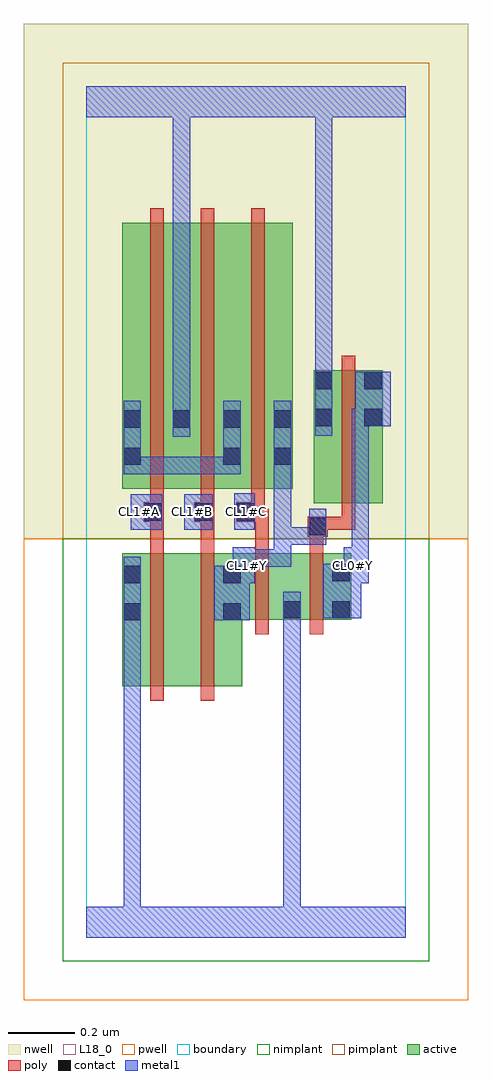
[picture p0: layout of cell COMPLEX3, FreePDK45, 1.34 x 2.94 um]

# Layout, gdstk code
import gdstk
lib = gdstk.Library(unit=1e-6, precision=1e-09)
def R(c, l, rs):  # rectangles x0, y0, x1, y1
    for r in rs: c.add(gdstk.rectangle(r[:2], r[2:], *l))
def A(c, l, x, y, w, h, nx, ny, dx, dy):  # array of equal rectangles
    R(c, l, [(x+i*dx, y+j*dy, x+i*dx+w, y+j*dy+h) for i in range(nx) for j in range(ny)])
active = (1, 0)
pwell = (2, 0)
nwell = (3, 0)
nimplant = (4, 0)
pimplant = (5, 0)
poly = (9, 0)
contact = (10, 0)
metal1 = (11, 0)
L18_0 = (18, 0)
boundary = (235, 0)

complex3 = lib.new_cell('COMPLEX3')
R(complex3, active, [(0.108,0.756,0.168,1.156), (0.108,0.756,0.288,1.156), (0.288,0.756,0.468,1.156), (0.408,0.756,0.468,1.156), (0.408,0.956,0.648,1.156), (0.588,0.956,0.796,1.156), (0.588,0.956,0.648,1.016), (0.736,0.956,0.796,1.156), (0.684,1.306,0.744,1.706), (0.684,1.306,0.892,1.706), (0.832,1.306,0.892,1.706), (0.108,1.35,0.168,2.044), (0.108,1.35,0.316,2.15), (0.256,1.35,0.468,2.15), (0.256,1.35,0.316,2.15), (0.408,1.35,0.62,2.15), (0.408,1.35,0.468,2.15), (0.56,1.35,0.62,2.044)])
R(complex3, pwell, [(-0.188,-0.188,1.148,1.2)])
R(complex3, nwell, [(-0.188,1.2,1.148,2.748)])
R(complex3, nimplant, [(-0.072,-0.072,1.032,1.2)])
R(complex3, pimplant, [(-0.072,1.2,1.032,2.632)])
A(complex3, poly, 0.192, 1.27, 0.04, 0.076, 3, 1, 0.152, 0)
A(complex3, poly, 0.192, 1.306, 0.04, 0.888, 3, 1, 0.152, 0)
R(complex3, poly, [(0.192,0.712,0.232,1.2), (0.344,0.712,0.384,1.2), (0.508,0.912,0.548,1.2), (0.672,0.912,0.712,1.2), (0.192,1.16,0.232,1.29), (0.344,1.16,0.384,1.29), (0.508,1.16,0.548,1.29), (0.672,1.16,0.712,1.246), (0.666,1.206,0.726,1.266), (0.686,1.226,0.726,1.266), (0.686,1.226,0.808,1.266), (0.768,1.226,0.808,1.302), (0.172,1.25,0.232,1.31), (0.324,1.25,0.384,1.31), (0.45,1.25,0.536,1.31), (0.496,1.25,0.536,1.29), (0.496,1.25,0.548,1.29), (0.768,1.262,0.808,1.75), (0.192,1.27,0.232,1.31), (0.192,1.27,0.232,1.31), (0.344,1.27,0.384,1.31), (0.344,1.27,0.384,1.31)])
A(complex3, contact, 0.26, 1.534, 0.052, 0.052, 3, 1, 0.152, 0)
R(complex3, contact, [(0.112,0.954,0.164,1.006), (0.412,0.954,0.464,1.006), (0.592,0.96,0.644,1.012), (0.74,0.96,0.792,1.012), (0.112,1.066,0.164,1.118), (0.412,1.066,0.464,1.118), (0.74,1.072,0.792,1.124), (0.67,1.21,0.722,1.262), (0.176,1.254,0.228,1.306), (0.328,1.254,0.38,1.306), (0.454,1.254,0.506,1.306), (0.112,1.422,0.164,1.474), (0.412,1.422,0.464,1.474), (0.564,1.422,0.616,1.474), (0.112,1.534,0.164,1.586), (0.688,1.538,0.74,1.59), (0.836,1.538,0.888,1.59), (0.688,1.65,0.74,1.702), (0.836,1.65,0.888,1.702)])
R(complex3, metal1, [(0,0,0.96,0.092), (0.112,0.04,0.164,0.092), (0.112,0.04,0.164,0.092), (0.112,0.04,0.164,0.092), (0.112,0.04,0.164,0.092), (0.112,0.04,0.164,0.092), (0.112,0.04,0.164,0.092), (0.112,0.04,0.164,0.092), (0.112,0.04,0.164,0.092), (0.112,0.04,0.164,0.978), (0.592,0.04,0.644,0.092), (0.592,0.04,0.644,0.092), (0.592,0.04,0.644,0.092), (0.592,0.04,0.644,0.092), (0.592,0.04,0.644,0.092), (0.592,0.04,0.644,0.092), (0.592,0.04,0.644,0.092), (0.592,0.04,0.644,0.092), (0.592,0.04,0.644,0.092), (0.592,0.04,0.644,0.092), (0.592,0.04,0.644,0.092), (0.592,0.04,0.644,0.092), (0.592,0.04,0.644,0.984), (0.112,0.926,0.164,0.978), (0.112,0.926,0.164,0.978), (0.112,0.926,0.164,0.978), (0.112,0.926,0.164,0.978), (0.112,0.926,0.164,1.146), (0.592,0.932,0.644,0.984), (0.592,0.932,0.644,0.984), (0.592,0.932,0.644,0.984), (0.592,0.932,0.644,0.984), (0.592,0.932,0.644,1.04), (0.384,0.954,0.492,1.118), (0.712,0.96,0.826,1.124), (0.44,1.066,0.492,1.118), (0.44,1.066,0.506,1.174), (0.774,1.066,0.85,1.174), (0.774,1.072,0.826,1.124), (0.454,1.116,0.506,1.168), (0.454,1.116,0.506,1.168), (0.454,1.116,0.616,1.168), (0.564,1.116,0.616,1.234), (0.798,1.122,0.85,1.59), (0.564,1.182,0.616,1.234), (0.564,1.182,0.616,1.234), (0.564,1.182,0.616,1.234), (0.564,1.182,0.616,1.234), (0.564,1.182,0.722,1.234), (0.564,1.182,0.616,1.446), (0.67,1.182,0.722,1.29), (0.134,1.226,0.228,1.334), (0.294,1.226,0.38,1.334), (0.444,1.226,0.506,1.336), (0.112,1.394,0.164,1.446), (0.112,1.394,0.164,1.446), (0.112,1.394,0.164,1.614), (0.112,1.394,0.326,1.446), (0.274,1.394,0.326,1.446), (0.274,1.394,0.326,1.446), (0.274,1.394,0.326,1.446), (0.274,1.394,0.464,1.446), (0.412,1.394,0.464,1.614), (0.564,1.394,0.616,1.614), (0.26,1.506,0.312,1.614), (0.688,1.51,0.74,1.73), (0.798,1.538,0.86,1.59), (0.808,1.538,0.86,1.59), (0.808,1.538,0.916,1.702), (0.26,1.562,0.312,1.614), (0.26,1.562,0.312,1.614), (0.26,1.562,0.312,2.52), (0.688,1.678,0.74,1.73), (0.688,1.678,0.74,1.73), (0.688,1.678,0.74,2.52), (0,2.468,0.96,2.56), (0.26,2.468,0.312,2.52), (0.26,2.468,0.312,2.52), (0.26,2.468,0.312,2.52), (0.26,2.468,0.312,2.52), (0.26,2.468,0.312,2.52), (0.26,2.468,0.312,2.52), (0.688,2.468,0.74,2.52), (0.688,2.468,0.74,2.52), (0.688,2.468,0.74,2.52), (0.688,2.468,0.74,2.52), (0.688,2.468,0.74,2.52), (0.688,2.468,0.74,2.52), (0.688,2.468,0.74,2.52), (0.688,2.468,0.74,2.52), (0.688,2.468,0.74,2.52), (0.688,2.468,0.74,2.52), (0.688,2.468,0.74,2.52), (0.688,2.468,0.74,2.52), (0.688,2.468,0.74,2.52), (0.688,2.468,0.74,2.52)])
A(complex3, L18_0, 0.134, 1.254, 0.052, 0.052, 3, 1, 0.16, 0)
R(complex3, L18_0, [(0,0,0.96,0.092), (0.112,0.04,0.164,0.092), (0.112,0.04,0.164,0.092), (0.112,0.04,0.164,0.092), (0.112,0.04,0.164,0.092), (0.112,0.04,0.164,0.092), (0.112,0.04,0.164,0.092), (0.112,0.04,0.164,0.092), (0.112,0.04,0.164,0.092), (0.112,0.04,0.164,0.978), (0.592,0.04,0.644,0.092), (0.592,0.04,0.644,0.092), (0.592,0.04,0.644,0.092), (0.592,0.04,0.644,0.092), (0.592,0.04,0.644,0.092), (0.592,0.04,0.644,0.092), (0.592,0.04,0.644,0.092), (0.592,0.04,0.644,0.092), (0.592,0.04,0.644,0.092), (0.592,0.04,0.644,0.092), (0.592,0.04,0.644,0.092), (0.592,0.04,0.644,0.092), (0.592,0.04,0.644,0.984), (0.112,0.926,0.164,0.978), (0.112,0.926,0.164,0.978), (0.112,0.926,0.164,0.978), (0.112,0.926,0.164,0.978), (0.112,0.926,0.164,1.146), (0.592,0.932,0.644,0.984), (0.592,0.932,0.644,0.984), (0.592,0.932,0.644,0.984), (0.592,0.932,0.644,0.984), (0.592,0.932,0.644,1.04), (0.384,0.954,0.492,1.118), (0.712,0.96,0.826,1.124), (0.44,1.066,0.492,1.118), (0.44,1.066,0.506,1.174), (0.774,1.066,0.85,1.174), (0.774,1.072,0.826,1.124), (0.454,1.094,0.506,1.146), (0.774,1.094,0.826,1.146), (0.454,1.116,0.506,1.168), (0.454,1.116,0.506,1.168), (0.454,1.116,0.616,1.168), (0.564,1.116,0.616,1.234), (0.798,1.122,0.85,1.59), (0.564,1.182,0.616,1.234), (0.564,1.182,0.616,1.234), (0.564,1.182,0.616,1.234), (0.564,1.182,0.616,1.234), (0.564,1.182,0.616,1.446), (0.564,1.182,0.722,1.234), (0.67,1.182,0.722,1.29), (0.134,1.226,0.228,1.334), (0.294,1.226,0.38,1.334), (0.444,1.226,0.506,1.336), (0.564,1.394,0.616,1.614), (0.26,1.506,0.312,1.614), (0.688,1.51,0.74,1.73), (0.798,1.538,0.86,1.59), (0.808,1.538,0.86,1.59), (0.808,1.538,0.916,1.702), (0.26,1.562,0.312,1.614), (0.26,1.562,0.312,1.614), (0.26,1.562,0.312,2.52), (0.688,1.678,0.74,1.73), (0.688,1.678,0.74,1.73), (0.688,1.678,0.74,2.52), (0,2.468,0.96,2.56), (0.26,2.468,0.312,2.52), (0.26,2.468,0.312,2.52), (0.26,2.468,0.312,2.52), (0.26,2.468,0.312,2.52), (0.26,2.468,0.312,2.52), (0.26,2.468,0.312,2.52), (0.688,2.468,0.74,2.52), (0.688,2.468,0.74,2.52), (0.688,2.468,0.74,2.52), (0.688,2.468,0.74,2.52), (0.688,2.468,0.74,2.52), (0.688,2.468,0.74,2.52), (0.688,2.468,0.74,2.52), (0.688,2.468,0.74,2.52), (0.688,2.468,0.74,2.52), (0.688,2.468,0.74,2.52), (0.688,2.468,0.74,2.52), (0.688,2.468,0.74,2.52), (0.688,2.468,0.74,2.52), (0.688,2.468,0.74,2.52)])
R(complex3, boundary, [(0,0,0.96,2.56)])
complex3.add(gdstk.Label('CL0#Y', (0.8,1.12), layer=11, texttype=0))
complex3.add(gdstk.Label('CL1#A', (0.16,1.28), layer=11, texttype=0))
complex3.add(gdstk.Label('CL1#B', (0.32,1.28), layer=11, texttype=0))
complex3.add(gdstk.Label('CL1#C', (0.48,1.28), layer=11, texttype=0))
complex3.add(gdstk.Label('CL1#Y', (0.48,1.12), layer=11, texttype=0))

lib.write_gds('COMPLEX3.gds')
